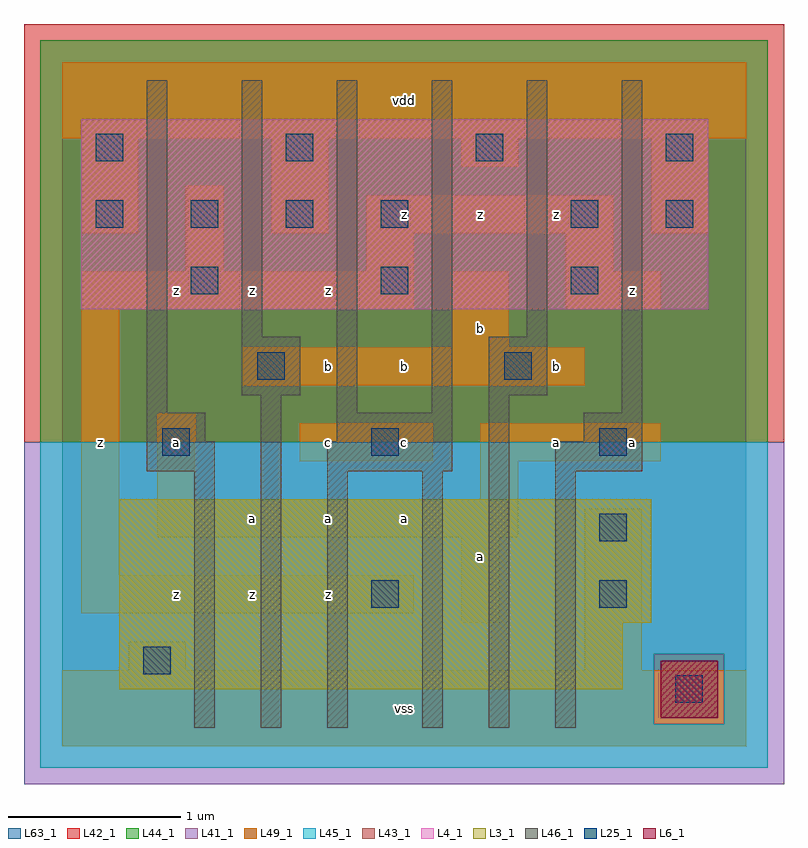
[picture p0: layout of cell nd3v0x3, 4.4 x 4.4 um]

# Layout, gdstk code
import gdstk
lib = gdstk.Library(unit=1e-6, precision=1e-09)
def R(c, l, rs):  # rectangles x0, y0, x1, y1
    for r in rs: c.add(gdstk.rectangle(r[:2], r[2:], *l))
def A(c, l, x, y, w, h, nx, ny, dx, dy):  # array of equal rectangles
    R(c, l, [(x+i*dx, y+j*dy, x+i*dx+w, y+j*dy+h) for i in range(nx) for j in range(ny)])
L3_1 = (3, 1)
L4_1 = (4, 1)
L6_1 = (6, 1)
L25_1 = (25, 1)
L41_1 = (41, 1)
L42_1 = (42, 1)
L43_1 = (43, 1)
L44_1 = (44, 1)
L45_1 = (45, 1)
L46_1 = (46, 1)
L49_1 = (49, 1)
L63_1 = (63, 1)

nd3v0x3 = lib.new_cell('nd3v0x3')
R(nd3v0x3, L3_1, [(0.33,0.33,3.245,0.715), (0.33,0.715,3.41,1.43)])
R(nd3v0x3, L4_1, [(0.11,2.53,3.74,3.63)])
R(nd3v0x3, L6_1, [(3.465,0.165,3.795,0.495)])
A(nd3v0x3, L25_1, 0.745, 2.615, 0.16, 0.16, 3, 1, 1.1, 0)
A(nd3v0x3, L25_1, 0.195, 3, 0.16, 0.16, 4, 1, 0.55, 0)
A(nd3v0x3, L25_1, 0.195, 3.385, 0.16, 0.16, 4, 1, 1.1, 0)
R(nd3v0x3, L25_1, [(3.55,0.25,3.71,0.41), (0.47,0.415,0.63,0.575), (1.79,0.8,1.95,0.96), (3.11,0.8,3.27,0.96), (3.11,1.185,3.27,1.345), (0.58,1.68,0.74,1.84), (1.79,1.68,1.95,1.84), (3.11,1.68,3.27,1.84), (1.13,2.12,1.29,2.28), (2.56,2.12,2.72,2.28), (2.945,3,3.105,3.16), (3.495,3,3.655,3.16)])
R(nd3v0x3, L41_1, [(-0.22,-0.22,4.18,1.76)])
R(nd3v0x3, L42_1, [(-0.22,1.76,4.18,4.18)])
R(nd3v0x3, L43_1, [(3.465,0.165,3.795,0.495), (0.33,0.33,3.245,0.715), (0.33,0.715,3.41,1.43), (0.11,2.53,3.74,3.63)])
R(nd3v0x3, L44_1, [(3.425,0.125,3.835,0.535), (-0.125,1.76,4.085,4.085)])
R(nd3v0x3, L45_1, [(-0.125,-0.125,4.085,0.125), (-0.125,0.125,3.425,0.535), (3.835,0.125,4.085,0.535), (-0.125,0.535,4.085,1.76)])
R(nd3v0x3, L46_1, [(0.765,0.105,0.885,1.59), (1.15,0.105,1.27,2.03), (1.535,0.105,1.655,1.59), (2.085,0.105,2.205,1.59), (2.47,0.105,2.59,2.03), (2.855,0.105,2.975,1.59), (0.49,1.59,0.885,1.765), (1.535,1.59,2.26,1.765), (2.855,1.59,3.36,1.765), (0.49,1.765,0.83,1.93), (1.59,1.765,2.26,1.93), (3.02,1.765,3.36,1.93), (0.49,1.93,0.61,3.855), (1.59,1.93,1.71,3.855), (2.14,1.93,2.26,3.855), (3.24,1.93,3.36,3.855), (1.04,2.03,1.38,2.37), (2.47,2.03,2.81,2.37), (1.04,2.37,1.16,3.855), (2.69,2.37,2.81,3.855)])
R(nd3v0x3, L49_1, [(0,0,3.96,0.44), (0.385,0.44,0.715,0.605), (3.025,0.44,3.355,1.375), (2.31,0.715,2.53,1.21), (0.11,0.77,2.035,0.99), (0.11,0.99,0.33,2.53), (0.55,1.21,2.64,1.43), (0.55,1.43,0.77,1.925), (2.42,1.43,2.64,1.65), (1.375,1.65,2.145,1.87), (2.42,1.65,3.465,1.87), (1.045,2.09,3.025,2.31), (2.255,2.31,2.585,2.75), (0.11,2.53,2.035,2.75), (2.915,2.53,3.465,2.75), (0.715,2.75,0.935,3.245), (1.76,2.75,2.035,2.97), (2.915,2.75,3.19,2.97), (0.11,2.97,0.44,3.52), (1.21,2.97,1.54,3.52), (1.76,2.97,3.19,3.19), (3.41,2.97,3.74,3.52), (2.31,3.355,2.64,3.52), (0,3.52,3.96,3.96)])
R(nd3v0x3, L63_1, [(0,0,3.96,3.96)])
nd3v0x3.add(gdstk.Label('z', (0.22,1.76), layer=49, texttype=1))
nd3v0x3.add(gdstk.Label('z', (1.1,0.88), layer=49, texttype=1))
nd3v0x3.add(gdstk.Label('z', (0.66,0.88), layer=49, texttype=1))
nd3v0x3.add(gdstk.Label('a', (1.1,1.32), layer=49, texttype=1))
nd3v0x3.add(gdstk.Label('a', (0.66,1.76), layer=49, texttype=1))
nd3v0x3.add(gdstk.Label('z', (0.66,2.64), layer=49, texttype=1))
nd3v0x3.add(gdstk.Label('z', (1.1,2.64), layer=49, texttype=1))
nd3v0x3.add(gdstk.Label('vss', (1.98,0.22), layer=49, texttype=1))
nd3v0x3.add(gdstk.Label('z', (1.54,0.88), layer=49, texttype=1))
nd3v0x3.add(gdstk.Label('a', (1.54,1.32), layer=49, texttype=1))
nd3v0x3.add(gdstk.Label('a', (1.98,1.32), layer=49, texttype=1))
nd3v0x3.add(gdstk.Label('c', (1.98,1.76), layer=49, texttype=1))
nd3v0x3.add(gdstk.Label('c', (1.54,1.76), layer=49, texttype=1))
nd3v0x3.add(gdstk.Label('b', (1.54,2.2), layer=49, texttype=1))
nd3v0x3.add(gdstk.Label('b', (1.98,2.2), layer=49, texttype=1))
nd3v0x3.add(gdstk.Label('z', (1.54,2.64), layer=49, texttype=1))
nd3v0x3.add(gdstk.Label('z', (1.98,3.08), layer=49, texttype=1))
nd3v0x3.add(gdstk.Label('vdd', (1.98,3.74), layer=49, texttype=1))
nd3v0x3.add(gdstk.Label('a', (2.42,1.1), layer=49, texttype=1))
nd3v0x3.add(gdstk.Label('a', (2.86,1.76), layer=49, texttype=1))
nd3v0x3.add(gdstk.Label('b', (2.86,2.2), layer=49, texttype=1))
nd3v0x3.add(gdstk.Label('b', (2.42,2.42), layer=49, texttype=1))
nd3v0x3.add(gdstk.Label('z', (2.86,3.08), layer=49, texttype=1))
nd3v0x3.add(gdstk.Label('z', (2.42,3.08), layer=49, texttype=1))
nd3v0x3.add(gdstk.Label('a', (3.3,1.76), layer=49, texttype=1))
nd3v0x3.add(gdstk.Label('z', (3.3,2.64), layer=49, texttype=1))

lib.write_gds('nd3v0x3.gds')
